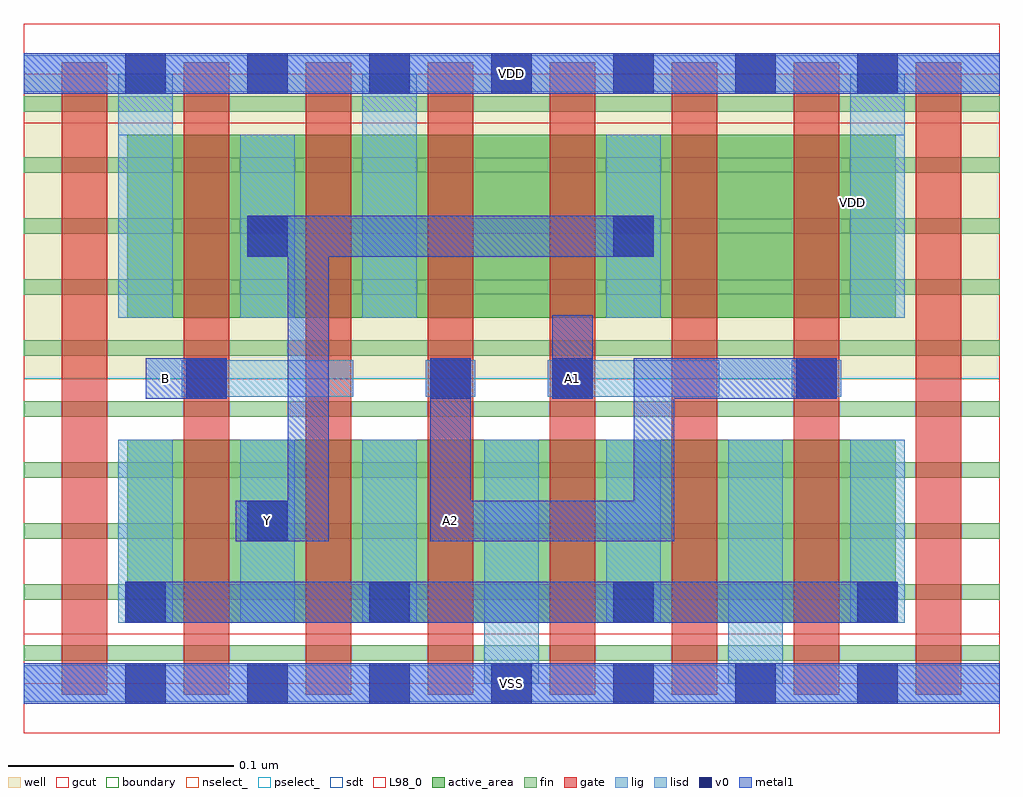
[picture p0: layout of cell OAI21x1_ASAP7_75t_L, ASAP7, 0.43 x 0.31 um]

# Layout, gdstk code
import gdstk
lib = gdstk.Library(unit=1e-6, precision=2.5e-10)
def R(c, l, rs):  # rectangles x0, y0, x1, y1
    for r in rs: c.add(gdstk.rectangle(r[:2], r[2:], *l))
def A(c, l, x, y, w, h, nx, ny, dx, dy):  # array of equal rectangles
    R(c, l, [(x+i*dx, y+j*dy, x+i*dx+w, y+j*dy+h) for i in range(nx) for j in range(ny)])
def P(c, l, *ps):  # polygons
    for p in ps: c.add(gdstk.Polygon(p, *l))
well = (1, 0)
fin = (2, 0)
gate = (7, 0)
gcut = (10, 0)
active_area = (11, 0)
nselect_ = (12, 0)
pselect_ = (13, 0)
lig = (16, 0)
lisd = (17, 0)
v0 = (18, 0)
metal1 = (19, 0)
sdt = (88, 0)
L98_0 = (98, 0)
boundary = (100, 0)

oai21x1_asap7_75t_l = lib.new_cell('OAI21x1_ASAP7_75t_L')
R(oai21x1_asap7_75t_l, well, [(0,0.135,0.432,0.27)])
A(oai21x1_asap7_75t_l, fin, 0, 0.01, 0.432, 0.007, 1, 10, 0, 0.027)
A(oai21x1_asap7_75t_l, gate, 0.017, -0.005, 0.02, 0.28, 8, 1, 0.054, 0)
R(oai21x1_asap7_75t_l, gcut, [(0,-0.022,0.432,0.022), (0,0.248,0.432,0.292)])
R(oai21x1_asap7_75t_l, active_area, [(0.046,0.027,0.386,0.108), (0.046,0.162,0.386,0.243)])
R(oai21x1_asap7_75t_l, nselect_, [(0,0,0.432,0.135)])
R(oai21x1_asap7_75t_l, pselect_, [(0,0.135,0.432,0.27)])
R(oai21x1_asap7_75t_l, lig, [(0,-0.008,0.432,0.008), (0.07,0.127,0.146,0.143), (0.178,0.127,0.2,0.143), (0.232,0.127,0.308,0.143), (0.34,0.127,0.362,0.143), (0,0.262,0.432,0.278)])
A(oai21x1_asap7_75t_l, lisd, 0.042, 0.027, 0.024, 0.081, 3, 1, 0.054, 0)
R(oai21x1_asap7_75t_l, lisd, [(0.204,0,0.228,0.108), (0.312,0,0.336,0.108), (0.258,0.027,0.282,0.108), (0.366,0.027,0.39,0.108), (0.042,0.162,0.066,0.27), (0.096,0.162,0.12,0.243), (0.15,0.162,0.174,0.27), (0.258,0.162,0.282,0.243), (0.366,0.162,0.39,0.27)])
A(oai21x1_asap7_75t_l, v0, 0.045, -0.009, 0.018, 0.018, 7, 2, 0.054, 0.27)
A(oai21x1_asap7_75t_l, v0, 0.045, 0.027, 0.018, 0.018, 4, 1, 0.108, 0)
R(oai21x1_asap7_75t_l, v0, [(0.099,0.063,0.117,0.081), (0.072,0.126,0.09,0.144), (0.18,0.126,0.198,0.144), (0.234,0.126,0.252,0.144), (0.342,0.126,0.36,0.144), (0.099,0.189,0.117,0.207), (0.261,0.189,0.279,0.207)])
R(oai21x1_asap7_75t_l, metal1, [(0,-0.009,0.432,0.009), (0.045,0.027,0.387,0.045), (0.054,0.126,0.09,0.144), (0.234,0.126,0.252,0.163), (0,0.261,0.432,0.279)])
P(oai21x1_asap7_75t_l, metal1, [(0.18,0.063),(0.18,0.144),(0.198,0.144),(0.198,0.081),(0.27,0.081),(0.27,0.144),(0.36,0.144),(0.36,0.126),(0.288,0.126),(0.288,0.063)],
  [(0.094,0.063),(0.094,0.081),(0.117,0.081),(0.117,0.189),(0.099,0.189),(0.099,0.207),(0.279,0.207),(0.279,0.189),(0.135,0.189),(0.135,0.063)])
A(oai21x1_asap7_75t_l, sdt, 0.042, 0.027, 0.024, 0.081, 7, 1, 0.054, 0)
A(oai21x1_asap7_75t_l, sdt, 0.042, 0.162, 0.024, 0.081, 3, 1, 0.054, 0)
R(oai21x1_asap7_75t_l, sdt, [(0.258,0.162,0.282,0.243), (0.366,0.162,0.39,0.243)])
R(oai21x1_asap7_75t_l, L98_0, [(0,0,0.432,0.27)])
R(oai21x1_asap7_75t_l, boundary, [(0,0,0.432,0.27)])
oai21x1_asap7_75t_l.add(gdstk.Label('A2', (0.189,0.072), layer=19, texttype=251))
oai21x1_asap7_75t_l.add(gdstk.Label('A1', (0.243,0.135), layer=19, texttype=251))
oai21x1_asap7_75t_l.add(gdstk.Label('B', (0.063,0.135), layer=19, texttype=251))
oai21x1_asap7_75t_l.add(gdstk.Label('Y', (0.108,0.072), layer=19, texttype=251))
oai21x1_asap7_75t_l.add(gdstk.Label('VSS', (0.216,0), layer=19, texttype=251))
oai21x1_asap7_75t_l.add(gdstk.Label('VDD', (0.216,0.27), layer=19, texttype=251))
oai21x1_asap7_75t_l.add(gdstk.Label('VDD', (0.367,0.213), layer=1, texttype=251))
oai21x1_asap7_75t_l.add(gdstk.Label('VSS', (0.497,0.213), layer=3, texttype=251))

lib.write_gds('OAI21x1_ASAP7_75t_L.gds')
